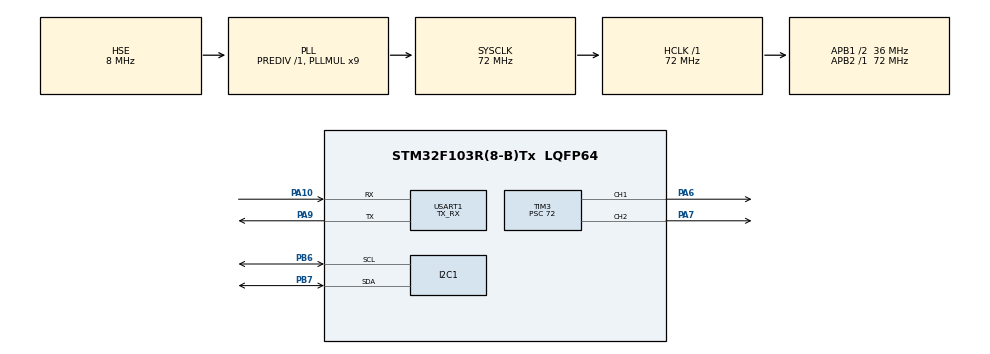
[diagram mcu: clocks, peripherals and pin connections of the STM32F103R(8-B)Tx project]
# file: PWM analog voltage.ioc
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FREERTOS.Tasks01=defaultTask,24,128,StartDefaultTask,Default,NULL,Dynamic,NULL,NULL;OutputChannel1,25,128,OutputChannel1Task,Default,NULL,Dynamic,NULL,NULL;OutputChannel2,25,128,OutputChannel2Task,Default,NULL,Dynamic,NULL,NULL
Mcu.Family=STM32F1
Mcu.Name=STM32F103R(8-B)Tx
Mcu.Package=LQFP64
NVIC.PriorityGroup=NVIC_PRIORITYGROUP_4
NVIC.TIM2_IRQn=true\:15\:0\:false\:false\:true\:false\:false\:true
NVIC.TimeBase=TIM2_IRQn
NVIC.TimeBaseIP=TIM2
NVIC.USART1_IRQn=true\:15\:0\:true\:false\:true\:true\:true\:true
PA10.Mode=Asynchronous
PA10.Signal=USART1_RX
PA13.Mode=Serial_Wire
PA13.Signal=SYS_JTMS-SWDIO
PA14.Mode=Serial_Wire
PA14.Signal=SYS_JTCK-SWCLK
PA6.Signal=S_TIM3_CH1
PA7.Signal=S_TIM3_CH2
PA9.Mode=Asynchronous
PA9.Signal=USART1_TX
PB6.Mode=I2C
PB6.Signal=I2C1_SCL
PB7.Mode=I2C
PB7.Signal=I2C1_SDA
PD0-OSC_IN.Mode=HSE-External-Oscillator
PD0-OSC_IN.Signal=RCC_OSC_IN
PD1-OSC_OUT.Mode=HSE-External-Oscillator
PD1-OSC_OUT.Signal=RCC_OSC_OUT
ProjectManager.HeapSize=0x200
ProjectManager.StackSize=0x400
ProjectManager.TargetToolchain=MDK-ARM V5.27
RCC.AHBFreq_Value=72000000
RCC.APB1CLKDivider=RCC_HCLK_DIV2
RCC.APB1Freq_Value=36000000
RCC.APB1TimFreq_Value=72000000
RCC.APB2Freq_Value=72000000
RCC.APB2TimFreq_Value=72000000
RCC.HCLKFreq_Value=72000000
RCC.PLLMUL=RCC_PLL_MUL9
RCC.PLLSourceVirtual=RCC_PLLSOURCE_HSE
RCC.SYSCLKFreq_VALUE=72000000
RCC.SYSCLKSource=RCC_SYSCLKSOURCE_PLLCLK
RCC.USBFreq_Value=72000000
SH.S_TIM3_CH1.0=TIM3_CH1,PWM Generation1 CH1
SH.S_TIM3_CH2.0=TIM3_CH2,PWM Generation2 CH2
TIM3.Channel-PWM\ Generation1\ CH1=TIM_CHANNEL_1
TIM3.Channel-PWM\ Generation2\ CH2=TIM_CHANNEL_2
TIM3.OCMode_PWM-PWM\ Generation1\ CH1=TIM_OCMODE_PWM1
TIM3.OCMode_PWM-PWM\ Generation2\ CH2=TIM_OCMODE_PWM1
TIM3.Period=500
TIM3.Prescaler=72
USART1.Mode=MODE_TX_RX
USART1.VirtualMode=VM_ASYNC
VP_FREERTOS_VS_CMSIS_V2.Mode=CMSIS_V2
VP_SYS_VS_tim2.Mode=TIM2
VP_TIM3_VS_ClockSourceINT.Mode=Internal
board=custom

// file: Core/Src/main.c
/* USER CODE BEGIN Header */
/**
  ******************************************************************************
  * @file           : main.c
  * @brief          : Main program body
  ******************************************************************************
  * @attention
  *
  * <h2><center>&copy; Copyright (c) 2021 STMicroelectronics.
  * All rights reserved.</center></h2>
  *
  * This software component is licensed by ST under BSD 3-Clause license,
  * the "License"; You may not use this file except in compliance with the
  * License. You may obtain a copy of the License at:
  *                        opensource.org/licenses/BSD-3-Clause
  *
  ******************************************************************************
  */
/* USER CODE END Header */
#include "main.h"
#include "cmsis_os.h"

/* USER CODE BEGIN Includes */
#include "stdio.h"
#include "stdlib.h"
#include "stdbool.h"
#include "string.h"
/* USER CODE END Includes */

/* USER CODE BEGIN PD */
#define PWM_PERIOD 500
#define OUTPUT_MAX_VOLTAGE 5

#define USART_REC_LEN	256

#define ADDR_24LCxx_Write	0xA0
#define ADDR_24LCxx_Read	0xA1
#define MEMADDR_SysConfig 0x00
#define MEMADDR_CHANNEL1	0x08
#define MEMADDR_CHANNEL2	0x10
// #define BufferSize 256
/* USER CODE END PD */

I2C_HandleTypeDef hi2c1;

TIM_HandleTypeDef htim3;

UART_HandleTypeDef huart1;

/* Definitions for defaultTask */
osThreadId_t defaultTaskHandle;
const osThreadAttr_t defaultTask_attributes = {
  .name = "defaultTask",
  .stack_size = 128 * 4,
  .priority = (osPriority_t) osPriorityNormal,
};
/* Definitions for OutputChannel1 */
osThreadId_t OutputChannel1Handle;
const osThreadAttr_t OutputChannel1_attributes = {
  .name = "OutputChannel1",
  .stack_size = 128 * 4,
  .priority = (osPriority_t) osPriorityNormal1,
};
/* Definitions for OutputChannel2 */
osThreadId_t OutputChannel2Handle;
const osThreadAttr_t OutputChannel2_attributes = {
  .name = "OutputChannel2",
  .stack_size = 128 * 4,
  .priority = (osPriority_t) osPriorityNormal1,
};
/* USER CODE BEGIN PV */
// 			接收状态
// bit15，		接收完成标志
// bit14，		接收到0x0d
// bit13~0，	接收到的有效字节数目
uint16_t USART_RX_STA = 0;
uint8_t USART_RX_BUF[USART_REC_LEN] = {0};

const char sep[2] = " ";
char *token;
char *commands[5] = {0};

uint8_t idx = 0;
uint8_t dataLength;

uint8_t E2P_Write_Buffer[8], E2P_Read_Buffer[8];
struct System_Config
{
	bool sync;										// Sync or Async mode
} STRUCT_SYSTEM;
struct Channel_Config
{
	double voltage;								// Voltage
	uint16_t period;							// Period
	uint8_t duty;									// Duty cycle
	uint8_t delay;								// Boot delay
	uint8_t repeat;								// Repeat
} STRUCT_CHANNEL1, STRUCT_CHANNEL2;

uint8_t currentChannel = 1;
/* USER CODE END PV */

void SystemClock_Config(void);
static void MX_GPIO_Init(void);
static void MX_USART1_UART_Init(void);
static void MX_TIM3_Init(void);
static void MX_I2C1_Init(void);
void StartDefaultTask(void *argument);
void OutputChannel1Task(void *argument);
void OutputChannel2Task(void *argument);

/* USER CODE BEGIN 0 */

// Rewrite fputc
int fputc(int ch,FILE *f)
{
	HAL_UART_Transmit(&huart1,(uint8_t *)&ch,1,0xffff);
	return ch;
}

// USART1 IEQ Handler
void USART_Command_IRQHandler(void)
{
	uint8_t Res;
	if((__HAL_UART_GET_FLAG(&huart1,UART_FLAG_RXNE) != RESET))
	{
		Res=USART1->DR;
		if((USART_RX_STA&0x8000)==0)
		{
			if(USART_RX_STA&0x4000)
			{
				if(Res!=0x0a)USART_RX_STA=0;
				else USART_RX_STA|=0x8000;
			}
			else
			{
				if(Res==0x0d)USART_RX_STA|=0x4000;
				else
				{
					USART_RX_BUF[USART_RX_STA&0X3FFF]=Res ;
					USART_RX_STA++;
					if(USART_RX_STA>(USART_REC_LEN-1))USART_RX_STA=0;
				}
			}
		}
	}
	HAL_UART_IRQHandler(&huart1);
}

/**
  * @brief  Convert analog voltage to PWM duty.
	* @param	int target voltage
  * @retval int Duty
  */
int Voltage_Duty_Convert(double voltage)
{
	if(voltage > OUTPUT_MAX_VOLTAGE) voltage = OUTPUT_MAX_VOLTAGE;
	double ret = voltage / OUTPUT_MAX_VOLTAGE * PWM_PERIOD;
	if(ret > PWM_PERIOD) ret = PWM_PERIOD;
	return ret;
}

uint8_t OUTPUT_CHANNEL[] = {0, TIM_CHANNEL_1, TIM_CHANNEL_2};
void Set_Channel_Voltage(uint8_t channel, double voltage)
{
	__HAL_TIM_SetCompare(&htim3, OUTPUT_CHANNEL[channel], Voltage_Duty_Convert(voltage));
}

void Update_Struct_Config()
{
	uint8_t Config_Buffer[8];
	HAL_I2C_Mem_Read(&hi2c1, ADDR_24LCxx_Read, 1 * 0x08, I2C_MEMADD_SIZE_8BIT, Config_Buffer, 8, 0xff);
	STRUCT_CHANNEL1.voltage	= Config_Buffer[0] / 10.0;
	STRUCT_CHANNEL1.period	= (Config_Buffer[1] << 8) + Config_Buffer[2];
	STRUCT_CHANNEL1.duty		= Config_Buffer[3];
	STRUCT_CHANNEL1.delay		= Config_Buffer[4];
	STRUCT_CHANNEL1.repeat	= Config_Buffer[5];

	HAL_I2C_Mem_Read(&hi2c1, ADDR_24LCxx_Read, 2 * 0x08, I2C_MEMADD_SIZE_8BIT, Config_Buffer, 8, 0xff);
	STRUCT_CHANNEL2.voltage	= Config_Buffer[0] / 10.0;
	STRUCT_CHANNEL2.period	= (Config_Buffer[1] << 8) + Config_Buffer[2];
	STRUCT_CHANNEL2.duty		= Config_Buffer[3];
	STRUCT_CHANNEL2.delay		= Config_Buffer[4];
	STRUCT_CHANNEL2.repeat	= Config_Buffer[5];

	HAL_I2C_Mem_Read(&hi2c1, ADDR_24LCxx_Read, 0x00, I2C_MEMADD_SIZE_8BIT, Config_Buffer, 1, 0xff);
	STRUCT_SYSTEM.sync = Config_Buffer[0];
}

void onCommandHandler(char *commands[])
{
	if(!strcmp(commands[0], "SET"))
	{
		if(!strcmp(commands[1], "MODE"))
		{
			HAL_I2C_Mem_Write(&hi2c1, ADDR_24LCxx_Write, 0x00, I2C_MEMADD_SIZE_8BIT, (uint8_t[]) {!strcmp(commands[2], "SYNC")}, 1, 1000);
			HAL_Delay(5);
			printf("[-] SWITCH TO %s mode\n", !strcmp(commands[2], "SYNC") ? "sync" : "async");
		}
		else if(!strcmp(commands[1], "CHANNEL"))
		{
			switch(atoi(commands[2]))
			{
				case 1:
				case 2:
					if(!strcmp(commands[3], "VOLTAGE"))
					{
						Set_Channel_Voltage(atoi(commands[2]), atof(commands[4]));
						HAL_I2C_Mem_Write(&hi2c1, ADDR_24LCxx_Write, atoi(commands[2]) * 0x08, I2C_MEMADD_SIZE_8BIT, (uint8_t[]) {atof(commands[4]) * 10}, 1, 1000);
						HAL_Delay(5);
						printf("[-]	SET CHANNEL %d VOLTAGE TO %.2fv\n", atoi(commands[2]), atof(commands[4]));
					}
					else if(!strcmp(commands[3], "PERIOD"))
					{
						uint16_t value = atoi(commands[4]);
						if(value > 0xFFFF) value = 0xFFFF;
						HAL_I2C_Mem_Write(&hi2c1, ADDR_24LCxx_Write, atoi(commands[2]) * 0x08 + 1, I2C_MEMADD_SIZE_8BIT, (uint8_t[]) {(value >> 8) & 0x00FF, value & 0x00FF}, 2, 1000);
						HAL_Delay(10);
						printf("[-]	SET CHANNEL %d PERIOD TO %d min(s)\n", atoi(commands[2]), value);
					}
					else if(!strcmp(commands[3], "DUTY"))
					{
						uint8_t value = atoi(commands[4]) & 0x7F;
						if(value > 0x64) value = 0x64;
						HAL_I2C_Mem_Write(&hi2c1, ADDR_24LCxx_Write, atoi(commands[2]) * 0x08 + 3, I2C_MEMADD_SIZE_8BIT, (uint8_t[]) {value}, 1, 1000);
						HAL_Delay(5);
						printf("[-]	SET CHANNEL %d DUTY TO %d%%\n", atoi(commands[2]), value);
					}
					else if(!strcmp(commands[3], "DUTY_REVERSE"))
					{
						uint8_t value = atoi(commands[4]) & 0x01;

						uint8_t buffer[1];
						HAL_I2C_Mem_Read(&hi2c1, ADDR_24LCxx_Read, atoi(commands[2]) * 0x08 + 3, I2C_MEMADD_SIZE_8BIT, buffer, 1, 0xff);
						HAL_Delay(5);

						uint8_t memValue = buffer[0];
						bool isReversed = (memValue & 0x80) >> 7;
						if(!(value == isReversed)) memValue ^= 0x80;

						HAL_I2C_Mem_Write(&hi2c1, ADDR_24LCxx_Write, atoi(commands[2]) * 0x08 + 3, I2C_MEMADD_SIZE_8BIT, (uint8_t[]) {memValue}, 1, 1000);
						HAL_Delay(5);
						printf("[-]	SET CHANNEL %d DUTY TURNED TO %s\n", atoi(commands[2]), !value ? "H to L" : "L to H");
					}
					else if(!strcmp(commands[3], "DELAY"))
					{
						uint8_t value = atoi(commands[4]);
						HAL_I2C_Mem_Write(&hi2c1, ADDR_24LCxx_Write, atoi(commands[2]) * 0x08 + 4, I2C_MEMADD_SIZE_8BIT, (uint8_t[]) {value}, 1, 1000);
						HAL_Delay(5);
						printf("[-]	SET CHANNEL %d DELAY TO %d sec(s)\n", atoi(commands[2]), value);
					}
					else if(!strcmp(commands[3], "REPEAT"))
					{
						uint8_t value = atoi(commands[4]);
						HAL_I2C_Mem_Write(&hi2c1, ADDR_24LCxx_Write, atoi(commands[2]) * 0x08 + 5, I2C_MEMADD_SIZE_8BIT, (uint8_t[]) {value}, 1, 1000);
						HAL_Delay(5);
						printf("[-]	SET CHANNEL %d REPEAT TO %d time(s)\n", atoi(commands[2]), value);
					}
					else
					{
						printf("[!]	Unknown command [%s]\n", commands[3]);
					}
					break;
				default:
					printf("[!]	Unknown channel [%s]\n", commands[2]);
			}
		}
		Update_Struct_Config();
	}
	else if(!strcmp(commands[0], "GET"))
	{
		if(!strcmp(commands[1], "CONFIG"))
		{
			switch(atoi(commands[2]))
			{
				case 1:
					printf("[-] CHANNEL 1 Configuration\nVoltage:	%.2fv\nPeriod:		%d min(s)\nDuty:		%d%%%s\nDelay:		%ds\nRepeat:		%d time(s)\n\n",
					STRUCT_CHANNEL1.voltage,
					STRUCT_CHANNEL1.period,
					STRUCT_CHANNEL1.duty & 0x7F,
					(STRUCT_CHANNEL1.duty & 0x80) >> 7 ? "(reversed)" : "",
					STRUCT_CHANNEL1.delay,
					STRUCT_CHANNEL1.repeat);
					break;
				case 2:
					printf("[-] CHANNEL 2 Configuration\nVoltage:	%.2fv\nPeriod:		%d min(s)\nDuty:		%d%%%s\nDelay:		%ds\nRepeat:		%d time(s)\n\n",
					STRUCT_CHANNEL2.voltage,
					STRUCT_CHANNEL2.period,
					STRUCT_CHANNEL2.duty & 0x7F,
					(STRUCT_CHANNEL2.duty & 0x80) >> 7 ? "(reversed)" : "",
					STRUCT_CHANNEL2.delay,
					STRUCT_CHANNEL2.repeat);
					break;
			}
		}
	}
	if(!strcmp(commands[0], "RESET"))
	{
		HAL_NVIC_SystemReset();
	}
}
/* USER CODE END 0 */

int main(void)
{

  /* MCU Configuration--------------------------------------------------------*/

  /* Reset of all peripherals, Initializes the Flash interface and the Systick. */
  HAL_Init();

  /* Configure the system clock */
  SystemClock_Config();

  /* Initialize all configured peripherals */
  MX_GPIO_Init();
  MX_USART1_UART_Init();
  MX_TIM3_Init();
  MX_I2C1_Init();
  /* USER CODE BEGIN 2 */
	HAL_TIM_PWM_Start(&htim3, TIM_CHANNEL_1);
	HAL_TIM_PWM_Start(&htim3, TIM_CHANNEL_2);
	__HAL_UART_ENABLE_IT(&huart1, UART_IT_RXNE);
	printf("[!] System is up now!\n\n");

	Update_Struct_Config();
  /* USER CODE END 2 */

  /* Init scheduler */
  osKernelInitialize();

  /* Create the thread(s) */
  /* creation of defaultTask */
  defaultTaskHandle = osThreadNew(StartDefaultTask, NULL, &defaultTask_attributes);

  /* creation of OutputChannel1 */
  OutputChannel1Handle = osThreadNew(OutputChannel1Task, NULL, &OutputChannel1_attributes);

  /* creation of OutputChannel2 */
  OutputChannel2Handle = osThreadNew(OutputChannel2Task, NULL, &OutputChannel2_attributes);

  /* Start scheduler */
  osKernelStart();

  /* We should never get here as control is now taken by the scheduler */
  /* Infinite loop */
  while (1)
  {

  }
}

void SystemClock_Config(void)
{
  RCC_OscInitTypeDef RCC_OscInitStruct = {0};
  RCC_ClkInitTypeDef RCC_ClkInitStruct = {0};

  /** Initializes the RCC Oscillators according to the specified parameters
  * in the RCC_OscInitTypeDef structure.
  */
  RCC_OscInitStruct.OscillatorType = RCC_OSCILLATORTYPE_HSE;
  RCC_OscInitStruct.HSEState = RCC_HSE_ON;
  RCC_OscInitStruct.HSEPredivValue = RCC_HSE_PREDIV_DIV1;
  RCC_OscInitStruct.HSIState = RCC_HSI_ON;
  RCC_OscInitStruct.PLL.PLLState = RCC_PLL_ON;
  RCC_OscInitStruct.PLL.PLLSource = RCC_PLLSOURCE_HSE;
  RCC_OscInitStruct.PLL.PLLMUL = RCC_PLL_MUL9;
  if (HAL_RCC_OscConfig(&RCC_OscInitStruct) != HAL_OK)
  {
    Error_Handler();
  }
  /** Initializes the CPU, AHB and APB buses clocks
  */
  RCC_ClkInitStruct.ClockType = RCC_CLOCKTYPE_HCLK|RCC_CLOCKTYPE_SYSCLK
                              |RCC_CLOCKTYPE_PCLK1|RCC_CLOCKTYPE_PCLK2;
  RCC_ClkInitStruct.SYSCLKSource = RCC_SYSCLKSOURCE_PLLCLK;
  RCC_ClkInitStruct.AHBCLKDivider = RCC_SYSCLK_DIV1;
  RCC_ClkInitStruct.APB1CLKDivider = RCC_HCLK_DIV2;
  RCC_ClkInitStruct.APB2CLKDivider = RCC_HCLK_DIV1;

  if (HAL_RCC_ClockConfig(&RCC_ClkInitStruct, FLASH_LATENCY_2) != HAL_OK)
  {
    Error_Handler();
  }
}

static void MX_I2C1_Init(void)
{

  hi2c1.Instance = I2C1;
  hi2c1.Init.ClockSpeed = 100000;
  hi2c1.Init.DutyCycle = I2C_DUTYCYCLE_2;
  hi2c1.Init.OwnAddress1 = 0;
  hi2c1.Init.AddressingMode = I2C_ADDRESSINGMODE_7BIT;
  hi2c1.Init.DualAddressMode = I2C_DUALADDRESS_DISABLE;
  hi2c1.Init.OwnAddress2 = 0;
  hi2c1.Init.GeneralCallMode = I2C_GENERALCALL_DISABLE;
  hi2c1.Init.NoStretchMode = I2C_NOSTRETCH_DISABLE;
  if (HAL_I2C_Init(&hi2c1) != HAL_OK)
  {
    Error_Handler();
  }

}

static void MX_TIM3_Init(void)
{

  TIM_ClockConfigTypeDef sClockSourceConfig = {0};
  TIM_MasterConfigTypeDef sMasterConfig = {0};
  TIM_OC_InitTypeDef sConfigOC = {0};

  htim3.Instance = TIM3;
  htim3.Init.Prescaler = 72;
  htim3.Init.CounterMode = TIM_COUNTERMODE_UP;
  htim3.Init.Period = 500;
  htim3.Init.ClockDivision = TIM_CLOCKDIVISION_DIV1;
  htim3.Init.AutoReloadPreload = TIM_AUTORELOAD_PRELOAD_DISABLE;
  if (HAL_TIM_Base_Init(&htim3) != HAL_OK)
  {
    Error_Handler();
  }
  sClockSourceConfig.ClockSource = TIM_CLOCKSOURCE_INTERNAL;
  if (HAL_TIM_ConfigClockSource(&htim3, &sClockSourceConfig) != HAL_OK)
  {
    Error_Handler();
  }
  if (HAL_TIM_PWM_Init(&htim3) != HAL_OK)
  {
    Error_Handler();
  }
  sMasterConfig.MasterOutputTrigger = TIM_TRGO_RESET;
  sMasterConfig.MasterSlaveMode = TIM_MASTERSLAVEMODE_DISABLE;
  if (HAL_TIMEx_MasterConfigSynchronization(&htim3, &sMasterConfig) != HAL_OK)
  {
    Error_Handler();
  }
  sConfigOC.OCMode = TIM_OCMODE_PWM1;
  sConfigOC.Pulse = 0;
  sConfigOC.OCPolarity = TIM_OCPOLARITY_HIGH;
  sConfigOC.OCFastMode = TIM_OCFAST_DISABLE;
  if (HAL_TIM_PWM_ConfigChannel(&htim3, &sConfigOC, TIM_CHANNEL_1) != HAL_OK)
  {
    Error_Handler();
  }
  if (HAL_TIM_PWM_ConfigChannel(&htim3, &sConfigOC, TIM_CHANNEL_2) != HAL_OK)
  {
    Error_Handler();
  }
  HAL_TIM_MspPostInit(&htim3);

}

static void MX_USART1_UART_Init(void)
{

  huart1.Instance = USART1;
  huart1.Init.BaudRate = 115200;
  huart1.Init.WordLength = UART_WORDLENGTH_8B;
  huart1.Init.StopBits = UART_STOPBITS_1;
  huart1.Init.Parity = UART_PARITY_NONE;
  huart1.Init.Mode = UART_MODE_TX_RX;
  huart1.Init.HwFlowCtl = UART_HWCONTROL_NONE;
  huart1.Init.OverSampling = UART_OVERSAMPLING_16;
  if (HAL_UART_Init(&huart1) != HAL_OK)
  {
    Error_Handler();
  }

}

static void MX_GPIO_Init(void)
{

  /* GPIO Ports Clock Enable */
  __HAL_RCC_GPIOD_CLK_ENABLE();
  __HAL_RCC_GPIOA_CLK_ENABLE();
  __HAL_RCC_GPIOB_CLK_ENABLE();

}

void StartDefaultTask(void *argument)
{
  /* USER CODE BEGIN 5 */
  /* Infinite loop */
  for(;;)
  {
		if(USART_RX_STA & 0x8000)
		{
			token = strtok((char*) USART_RX_BUF, sep);
			while( token != NULL ) {
				commands[idx++] = token;
				token = strtok(NULL, sep);
			}
			idx = 0;
			onCommandHandler(commands);
			while(__HAL_UART_GET_FLAG(&huart1, UART_FLAG_TC) != SET);
			memset(USART_RX_BUF, 0, sizeof(USART_RX_BUF));
			USART_RX_STA=0;
		}
  }
  /* USER CODE END 5 */
}

void OutputChannel1Task(void *argument)
{
  /* USER CODE BEGIN OutputChannel1Task */
	int Repeat;
	double Period_H, Period_L, percent;
  /* Infinite loop */
  for(;;)
  {
		if(STRUCT_SYSTEM.sync && (currentChannel != 1)) break;
		percent		= (STRUCT_CHANNEL1.duty & 0x7F) / 100.0;
		Period_L	=	STRUCT_CHANNEL1.period * percent;
		Period_H	= STRUCT_CHANNEL1.period - Period_L;
		Repeat		= STRUCT_CHANNEL1.repeat;
    osDelay(STRUCT_CHANNEL1.delay * 1000);
		for(int i = 0; i < Repeat; i++)
		{
			if((STRUCT_CHANNEL1.duty & 0x80) >> 7 == 0)
			{
				Set_Channel_Voltage(1, STRUCT_CHANNEL1.voltage);
				osDelay(Period_H * 1000 * 60);
				Set_Channel_Voltage(1, 0);
				osDelay(Period_L * 1000 * 60);
			}
			else
			{
				Set_Channel_Voltage(1, 0);
				osDelay(Period_L * 1000 * 60);
				Set_Channel_Voltage(1, STRUCT_CHANNEL1.voltage);
				osDelay(Period_H * 1000 * 60);
			}
		}
		currentChannel = 2;
  }
  /* USER CODE END OutputChannel1Task */
}

void OutputChannel2Task(void *argument)
{
  /* USER CODE BEGIN OutputChannel2Task */
	int Repeat;
	double Period_H, Period_L, percent;
  /* Infinite loop */
  for(;;)
  {
		if(STRUCT_SYSTEM.sync && (currentChannel != 2)) break;
		percent		= (STRUCT_CHANNEL2.duty & 0x7F) / 100.0;
		Period_L	=	STRUCT_CHANNEL2.period * percent;
		Period_H	= STRUCT_CHANNEL2.period - Period_L;
		Repeat		= STRUCT_CHANNEL2.repeat;
    osDelay(STRUCT_CHANNEL2.delay * 1000);
		for(int i = 0; i < Repeat; i++)
		{
			if((STRUCT_CHANNEL2.duty & 0x80) >> 7 == 0)
			{
				Set_Channel_Voltage(2, STRUCT_CHANNEL2.voltage);
				osDelay(Period_H * 1000 * 60);
				Set_Channel_Voltage(2, 0);
				osDelay(Period_L * 1000 * 60);
			}
			else
			{
				Set_Channel_Voltage(2, 0);
				osDelay(Period_L * 1000 * 60);
				Set_Channel_Voltage(2, STRUCT_CHANNEL2.voltage);
				osDelay(Period_H * 1000 * 60);
			}
		}
		currentChannel = 1;
  }
  /* USER CODE END OutputChannel2Task */
}

void HAL_TIM_PeriodElapsedCallback(TIM_HandleTypeDef *htim)
{
  if (htim->Instance == TIM2) {
    HAL_IncTick();
  }
}

void Error_Handler(void)
{
  __disable_irq();
  while (1)
  {
  }
}

/************************ (C) COPYRIGHT STMicroelectronics *****END OF FILE****/
